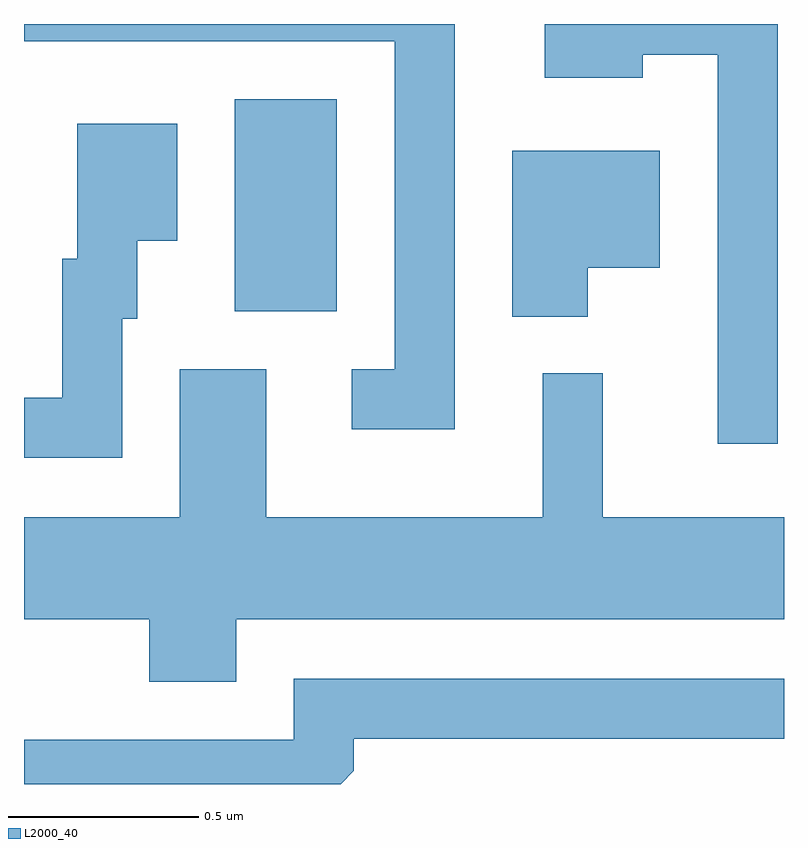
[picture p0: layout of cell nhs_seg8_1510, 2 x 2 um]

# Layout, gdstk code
import gdstk
lib = gdstk.Library(unit=1e-6, precision=1e-09)
def R(c, l, rs):  # rectangles x0, y0, x1, y1
    for r in rs: c.add(gdstk.rectangle(r[:2], r[2:], *l))
def P(c, l, *ps):  # polygons
    for p in ps: c.add(gdstk.Polygon(p, *l))
L2000_40 = (2000, 40)

nhs_seg8_1510 = lib.new_cell('nhs_seg8_1510')
R(nhs_seg8_1510, L2000_40, [(197.166,1810.586,197.434,1811.144)])
P(nhs_seg8_1510, L2000_40, [(198.594,1811.342),(197.981,1811.342),(197.981,1811.201),(198.239,1811.201),(198.239,1811.261),(198.436,1811.261),(198.436,1810.238),(198.594,1810.238)],
  [(197.744,1811.342),(196.611,1811.342),(196.611,1811.296),(197.586,1811.296),(197.586,1810.434),(197.473,1810.434),(197.473,1810.276),(197.744,1810.276)],
  [(196.869,1810.566),(196.909,1810.566),(196.909,1810.771),(197.014,1810.771),(197.014,1811.079),(196.751,1811.079),(196.751,1810.724),(196.711,1810.724),(196.711,1810.359),(196.611,1810.359),(196.611,1810.201),(196.869,1810.201)],
  [(198.094,1810.701),(198.284,1810.701),(198.284,1811.009),(197.896,1811.009),(197.896,1810.571),(198.094,1810.571)],
  [(197.169,1809.776),(198.611,1809.776),(198.611,1810.044),(198.134,1810.044),(198.134,1810.423),(197.976,1810.423),(197.976,1810.044),(197.249,1810.044),(197.249,1810.434),(197.021,1810.434),(197.021,1810.044),(196.611,1810.044),(196.611,1809.776),(196.941,1809.776),(196.941,1809.611),(197.169,1809.611)],
  [(197.479,1809.377),(197.479,1809.461),(198.611,1809.461),(198.611,1809.619),(197.321,1809.619),(197.321,1809.459),(196.611,1809.459),(196.611,1809.342),(197.444,1809.342)])

lib.write_gds('nhs_seg8_1510.gds')
